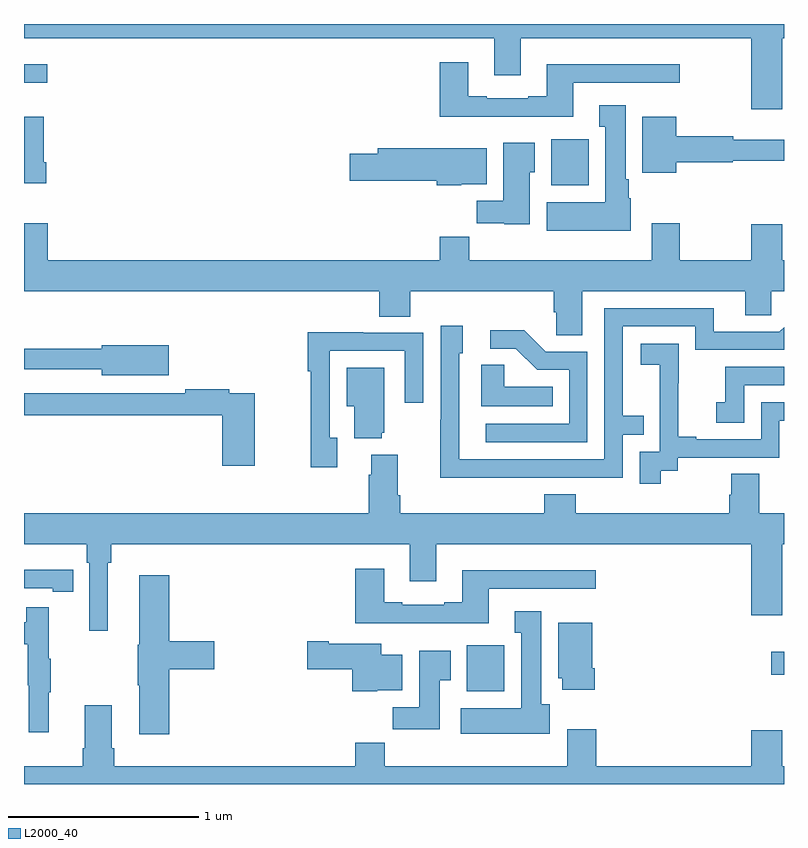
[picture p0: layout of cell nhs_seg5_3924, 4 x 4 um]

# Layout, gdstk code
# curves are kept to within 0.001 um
import gdstk
lib = gdstk.Library(unit=1e-6, precision=1e-09)
def R(c, l, rs):  # rectangles x0, y0, x1, y1
    for r in rs: c.add(gdstk.rectangle(r[:2], r[2:], *l))
def P(c, l, *ps):  # polygons
    for p in ps: c.add(gdstk.Polygon(p, *l))
L2000_40 = (2000, 40)

nhs_seg5_3924 = lib.new_cell('nhs_seg5_3924')
R(nhs_seg5_3924, L2000_40, [(343.331,889.286,343.528,889.528), (344.934,889.373,345,889.495), (343.775,891.95,343.972,892.192), (341,892.491,341.122,892.588)])
P(nhs_seg5_3924, L2000_40, [(344.992,892.724),(345,892.724),(345,892.799),(341,892.799),(341,892.724),(343.475,892.724),(343.475,892.53),(343.615,892.53),(343.615,892.724),(344.828,892.724),(344.828,892.35),(344.992,892.35)],
  [(343.891,892.491),(344.452,892.491),(344.452,892.588),(343.751,892.588),(343.751,892.42),(343.655,892.42),(343.655,892.407),(343.435,892.407),(343.435,892.42),(343.339,892.42),(343.339,892.597),(343.187,892.597),(343.187,892.31),(343.891,892.31)],
  [(344.194,891.882),(344.182,891.882),(344.182,891.982),(344.167,891.982),(344.167,892.372),(344.027,892.372),(344.027,892.259),(344.06,892.259),(344.06,891.862),(343.751,891.862),(343.751,891.71),(344.194,891.71)],
  [(341.117,892.072),(341.104,892.072),(341.104,892.312),(341,892.312),(341,891.96),(341.117,891.96)],
  [(344.434,892.072),(344.73,892.072),(344.73,892.08),(345,892.08),(345,892.189),(344.732,892.189),(344.732,892.208),(344.434,892.208),(344.434,892.312),(344.255,892.312),(344.255,892.016),(344.434,892.016)],
  [(343.663,892.02),(343.687,892.02),(343.687,892.174),(343.523,892.174),(343.523,891.868),(343.384,891.868),(343.384,891.75),(343.527,891.75),(343.527,891.746),(343.663,891.746)],
  [(343.302,891.956),(343.435,891.956),(343.435,892.144),(343.188,892.144),(343.188,892.145),(342.863,892.145),(342.863,892.115),(342.714,892.115),(342.714,891.973),(343.172,891.973),(343.172,891.95),(343.302,891.95)],
  [(343.939,891.392),(344.795,891.392),(344.795,891.265),(344.934,891.265),(344.934,891.392),(345,891.392),(345,891.556),(344.992,891.556),(344.992,891.745),(344.828,891.745),(344.828,891.556),(344.451,891.556),(344.451,891.751),(344.303,891.751),(344.303,891.556),(343.343,891.556),(343.343,891.68),(343.187,891.68),(343.187,891.556),(341.126,891.556),(341.126,891.751),(341,891.751),(341,891.392),(342.869,891.392),(342.869,891.259),(343.034,891.259),(343.034,891.392),(343.787,891.392),(343.787,891.283),(343.8,891.283),(343.8,891.16),(343.939,891.16)],
  [(343.655,890.412),(344.151,890.412),(344.151,890.637),(344.261,890.637),(344.261,890.738),(344.151,890.738),(344.151,891.207),(344.532,891.207),(344.532,891.084),(345,891.084),(345,891.204),(344.976,891.18),(344.629,891.18),(344.629,891.303),(344.055,891.303),(344.055,890.508),(343.29,890.508),(343.29,891.066),(343.309,891.066),(343.309,891.211),(343.194,891.211),(343.194,890.717),(343.192,890.717),(343.192,890.411)],
  [(343.965,891.075),(343.746,891.075),(343.633,891.188),(343.455,891.188),(343.455,891.09),(343.589,891.09),(343.7,890.979),(343.869,890.979),(343.869,890.694),(343.431,890.694),(343.431,890.598),(343.965,890.598)],
  [(342.649,890.622),(342.609,890.622),(342.609,891.078),(343.005,891.078),(343.005,890.805),(343.101,890.805),(343.101,891.174),(342.785,891.174),(342.785,891.176),(342.493,891.176),(342.493,890.971),(342.508,890.971),(342.508,890.466),(342.649,890.466)],
  [(344.35,890.449),(344.442,890.449),(344.442,890.517),(344.976,890.517),(344.976,890.712),(345,890.712),(345,890.808),(344.88,890.808),(344.88,890.613),(344.539,890.613),(344.539,890.626),(344.444,890.626),(344.444,890.909),(344.445,890.909),(344.445,891.115),(344.247,891.115),(344.247,891.005),(344.345,891.005),(344.345,890.777),(344.346,890.777),(344.346,890.547),(344.241,890.547),(344.241,890.379),(344.35,890.379)],
  [(341.761,891.109),(341.408,891.109),(341.408,891.091),(341,891.091),(341,890.982),(341.408,890.982),(341.408,890.951),(341.761,890.951)],
  [(343.784,890.89),(343.527,890.89),(343.527,891.005),(343.406,891.005),(343.406,890.786),(343.784,890.786)],
  [(344.79,890.898),(345,890.898),(345,890.994),(344.692,890.994),(344.692,890.809),(344.643,890.809),(344.643,890.7),(344.79,890.7)],
  [(342.884,890.649),(342.895,890.649),(342.895,890.989),(342.698,890.989),(342.698,890.786),(342.737,890.786),(342.737,890.618),(342.884,890.618)],
  [(342.214,890.856),(342.08,890.856),(342.08,890.876),(341.848,890.876),(341.848,890.856),(341,890.856),(341,890.74),(342.044,890.74),(342.044,890.475),(342.214,890.475)],
  [(341.44,889.964),(341.459,889.964),(341.459,890.06),(343.031,890.06),(343.031,889.866),(343.171,889.866),(343.171,890.06),(344.828,890.06),(344.828,889.686),(344.992,889.686),(344.992,890.06),(345,890.06),(345,890.224),(344.871,890.224),(344.871,890.432),(344.723,890.432),(344.723,890.322),(344.711,890.322),(344.711,890.224),(343.904,890.224),(343.904,890.323),(343.739,890.323),(343.739,890.224),(342.98,890.224),(342.98,890.32),(342.967,890.32),(342.967,890.533),(342.827,890.533),(342.827,890.426),(342.815,890.426),(342.815,890.224),(341,890.224),(341,890.06),(341.33,890.06),(341.33,889.964),(341.343,889.964),(341.343,889.605),(341.44,889.605)],
  [(343.447,889.827),(344.008,889.827),(344.008,889.924),(343.307,889.924),(343.307,889.756),(343.211,889.756),(343.211,889.743),(342.991,889.743),(342.991,889.756),(342.895,889.756),(342.895,889.933),(342.743,889.933),(342.743,889.646),(343.447,889.646)],
  [(341.258,889.926),(341.15,889.926),(341.15,889.927),(341,889.927),(341,889.83),(341.15,889.83),(341.15,889.81),(341.258,889.81)],
  [(341.765,889.403),(342.001,889.403),(342.001,889.55),(341.765,889.55),(341.765,889.897),(341.606,889.897),(341.606,889.533),(341.599,889.533),(341.599,889.319),(341.606,889.319),(341.606,889.062),(341.765,889.062)],
  [(341.129,889.283),(341.14,889.283),(341.14,889.457),(341.129,889.457),(341.129,889.729),(341.011,889.729),(341.011,889.65),(341,889.65),(341,889.534),(341.019,889.534),(341.019,889.32),(341.026,889.32),(341.026,889.071),(341.129,889.071)],
  [(343.768,889.218),(343.723,889.218),(343.723,889.708),(343.583,889.708),(343.583,889.595),(343.616,889.595),(343.616,889.198),(343.299,889.198),(343.299,889.064),(343.768,889.064)],
  [(344.003,889.408),(343.99,889.408),(343.99,889.648),(343.811,889.648),(343.811,889.356),(343.832,889.356),(343.832,889.296),(344.003,889.296)],
  [(342.858,889.292),(342.991,889.292),(342.991,889.48),(342.88,889.48),(342.88,889.537),(342.604,889.537),(342.604,889.55),(342.492,889.55),(342.492,889.403),(342.728,889.403),(342.728,889.286),(342.858,889.286)],
  [(343.189,889.345),(343.246,889.345),(343.246,889.501),(343.079,889.501),(343.079,889.204),(342.94,889.204),(342.94,889.086),(343.189,889.086)],
  [(345,888.892),(344.992,888.892),(344.992,889.081),(344.828,889.081),(344.828,888.892),(344.012,888.892),(344.012,889.087),(343.859,889.087),(343.859,888.892),(342.899,888.892),(342.899,889.016),(342.743,889.016),(342.743,888.892),(341.474,888.892),(341.474,888.988),(341.461,888.988),(341.461,889.213),(341.321,889.213),(341.321,888.988),(341.309,888.988),(341.309,888.892),(341,888.892),(341,888.799),(345,888.799)])

lib.write_gds('nhs_seg5_3924.gds')
